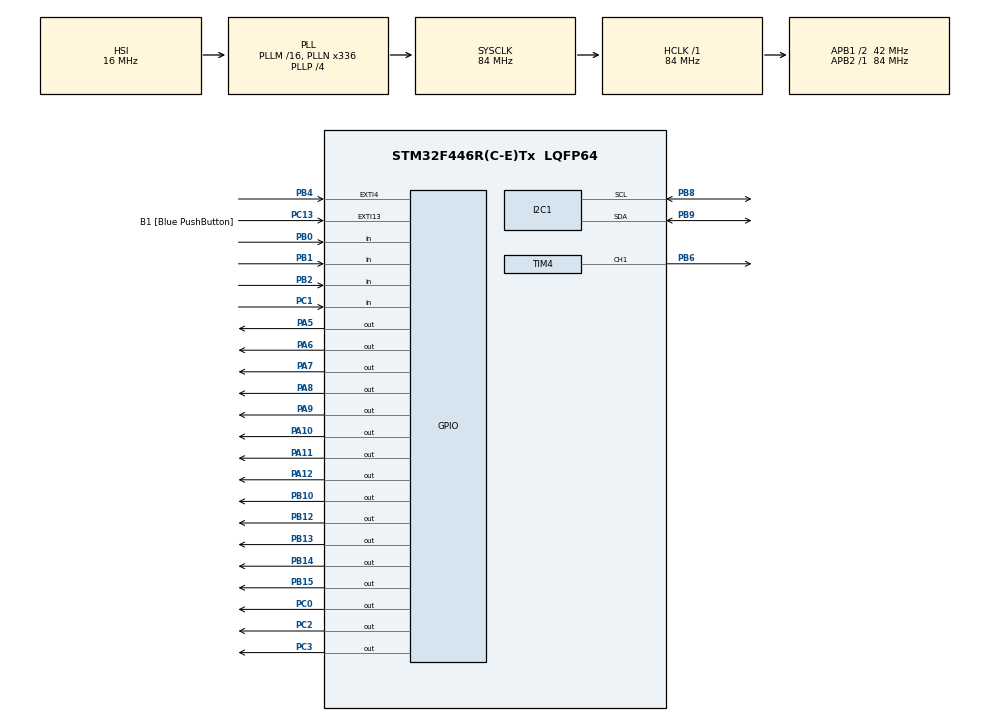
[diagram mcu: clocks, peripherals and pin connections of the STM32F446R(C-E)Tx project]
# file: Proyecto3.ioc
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Dma.Request0=TIM4_CH1
Dma.TIM4_CH1.0.Direction=DMA_MEMORY_TO_PERIPH
Dma.TIM4_CH1.0.FIFOMode=DMA_FIFOMODE_DISABLE
Dma.TIM4_CH1.0.Instance=DMA1_Stream0
Dma.TIM4_CH1.0.MemDataAlignment=DMA_MDATAALIGN_HALFWORD
Dma.TIM4_CH1.0.MemInc=DMA_MINC_ENABLE
Dma.TIM4_CH1.0.Mode=DMA_NORMAL
Dma.TIM4_CH1.0.PeriphDataAlignment=DMA_PDATAALIGN_HALFWORD
Dma.TIM4_CH1.0.PeriphInc=DMA_PINC_DISABLE
Dma.TIM4_CH1.0.Priority=DMA_PRIORITY_LOW
I2C1.OwnAddress=12
Mcu.Family=STM32F4
Mcu.Name=STM32F446R(C-E)Tx
Mcu.Package=LQFP64
NVIC.DMA1_Stream0_IRQn=true\:0\:0\:false\:false\:true\:false\:true\:true
NVIC.PriorityGroup=NVIC_PRIORITYGROUP_0
PA10.Signal=GPIO_Output
PA11.Signal=GPIO_Output
PA12.Signal=GPIO_Output
PA13.GPIO_Label=TMS
PA13.Signal=SYS_JTMS-SWDIO
PA14.GPIO_Label=TCK
PA14.Signal=SYS_JTCK-SWCLK
PA2.GPIO_Label=USART_TX
PA2.Signal=USART2_TX
PA3.GPIO_Label=USART_RX
PA3.Signal=USART2_RX
PA5.Signal=GPIO_Output
PA6.Signal=GPIO_Output
PA7.Signal=GPIO_Output
PA8.Signal=GPIO_Output
PA9.Signal=GPIO_Output
PB0.Signal=GPIO_Input
PB1.Signal=GPIO_Input
PB10.Signal=GPIO_Output
PB12.Signal=GPIO_Output
PB13.Signal=GPIO_Output
PB14.Signal=GPIO_Output
PB15.Signal=GPIO_Output
PB2.Signal=GPIO_Input
PB3.GPIO_Label=SWO
PB3.Signal=SYS_JTDO-SWO
PB4.Signal=GPXTI4
PB6.Signal=S_TIM4_CH1
PB8.Mode=I2C
PB8.Signal=I2C1_SCL
PB9.Mode=I2C
PB9.Signal=I2C1_SDA
PC0.Signal=GPIO_Output
PC1.Signal=GPIO_Input
PC13.GPIO_Label=B1 [Blue PushButton]
PC13.GPIO_ModeDefaultEXTI=GPIO_MODE_IT_FALLING
PC13.Signal=GPXTI13
PC14-OSC32_IN.Signal=RCC_OSC32_IN
PC15-OSC32_OUT.Signal=RCC_OSC32_OUT
PC2.Signal=GPIO_Output
PC3.Signal=GPIO_Output
PH0-OSC_IN.Signal=RCC_OSC_IN
PH1-OSC_OUT.Signal=RCC_OSC_OUT
ProjectManager.HeapSize=0x200
ProjectManager.StackSize=0x400
ProjectManager.TargetToolchain=STM32CubeIDE
RCC.AHBFreq_Value=84000000
RCC.APB1CLKDivider=RCC_HCLK_DIV2
RCC.APB1Freq_Value=42000000
RCC.APB1TimFreq_Value=84000000
RCC.APB2Freq_Value=84000000
RCC.APB2TimFreq_Value=84000000
RCC.CortexFreq_Value=84000000
RCC.FLatency-AdvancedSettings=FLASH_LATENCY_2
RCC.HCLKFreq_Value=84000000
RCC.HSE_VALUE=8000000
RCC.HSI_VALUE=16000000
RCC.LSE_VALUE=32768
RCC.PLLN=336
RCC.PLLP=RCC_PLLP_DIV4
RCC.SYSCLKFreq_VALUE=84000000
RCC.SYSCLKSource=RCC_SYSCLKSOURCE_PLLCLK
RCC.USBFreq_Value=168000000
RCC.VCOOutputFreq_Value=336000000
SH.S_TIM4_CH1.0=TIM4_CH1,PWM Generation1 CH1
TIM2.Prescaler=84-1
TIM4.Channel-PWM\ Generation1\ CH1=TIM_CHANNEL_1
TIM4.Period=104
VP_TIM2_VS_ClockSourceINT.Mode=Internal
board=NUCLEO-F446RE

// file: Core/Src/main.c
/* USER CODE BEGIN Header */
/**
  ******************************************************************************
  * @file           : main.c
  * @brief          : Main program body
  ******************************************************************************
  * @attention
  *
  * Copyright (c) 2026 STMicroelectronics.
  * All rights reserved.
  *
  * This software is licensed under terms that can be found in the LICENSE file
  * in the root directory of this software component.
  * If no LICENSE file comes with this software, it is provided AS-IS.
  *
  ******************************************************************************
  */
/* USER CODE END Header */
#include "main.h"

/* USER CODE BEGIN Includes */
#include "ws2812.h"
/* USER CODE END Includes */

/* USER CODE BEGIN PD */
#define numPixels 4
#define CCR_0 34
#define CCR_1 67

#define neoPixel_timer htim4
#define neoPixel_Canal TIM_CHANNEL_1
/* USER CODE END PD */

I2C_HandleTypeDef hi2c1;

TIM_HandleTypeDef htim2;
TIM_HandleTypeDef htim4;
DMA_HandleTypeDef hdma_tim4_ch1;

/* USER CODE BEGIN PV */
volatile uint32_t start = 0;
volatile uint32_t stop = 0;
volatile float distancia1 = 0;
volatile float distancia2 = 0;
volatile float distancia3 = 0;
volatile float distancia4 = 0;
uint8_t parqueo5 = 1;
uint8_t parqueo6 = 1;
uint8_t parqueo7 = 1;
uint8_t parqueo8 = 1;

uint8_t disponibles = 4;

uint8_t datos_tx[5];

/* USER CODE END PV */

void SystemClock_Config(void);
static void MX_GPIO_Init(void);
static void MX_DMA_Init(void);
static void MX_TIM2_Init(void);
static void MX_I2C1_Init(void);
static void MX_TIM4_Init(void);
/* USER CODE BEGIN PFP */

void delay_us(uint32_t us);

float HC_SR04_Read(GPIO_TypeDef *TrigPort,
                   uint16_t TrigPin,
                   GPIO_TypeDef *EchoPort,
                   uint16_t EchoPin);
void MostrarNumero(uint8_t numero);
/* USER CODE END PFP */

/* USER CODE BEGIN 0 */
void MostrarNumero(uint8_t numero)
{
    /* Apaga todos los segmentos */
    HAL_GPIO_WritePin(GPIOA, GPIO_PIN_8|GPIO_PIN_9|GPIO_PIN_10|
                             GPIO_PIN_11|GPIO_PIN_12,
                             GPIO_PIN_RESET);

    HAL_GPIO_WritePin(GPIOB, GPIO_PIN_10|GPIO_PIN_12,
                             GPIO_PIN_RESET);

    switch(numero)
    {
        case 0:
            HAL_GPIO_WritePin(GPIOA, GPIO_PIN_8|GPIO_PIN_9|
                                     GPIO_PIN_10|GPIO_PIN_11|
                                     GPIO_PIN_12, GPIO_PIN_SET);
            HAL_GPIO_WritePin(GPIOB, GPIO_PIN_10, GPIO_PIN_SET);
            break;

        case 1:
            HAL_GPIO_WritePin(GPIOA,
                              GPIO_PIN_9|GPIO_PIN_10,
                              GPIO_PIN_SET);
            break;

        case 2:
            HAL_GPIO_WritePin(GPIOA,
                              GPIO_PIN_8|GPIO_PIN_9|
                              GPIO_PIN_11|GPIO_PIN_12,
                              GPIO_PIN_SET);
            HAL_GPIO_WritePin(GPIOB,
                              GPIO_PIN_12,
                              GPIO_PIN_SET);
            break;

        case 3:
            HAL_GPIO_WritePin(GPIOA,
                              GPIO_PIN_8|GPIO_PIN_9|
                              GPIO_PIN_10|GPIO_PIN_11,
                              GPIO_PIN_SET);
            HAL_GPIO_WritePin(GPIOB,
                              GPIO_PIN_12,
                              GPIO_PIN_SET);
            break;

        case 4:
            HAL_GPIO_WritePin(GPIOA,
                              GPIO_PIN_9|GPIO_PIN_10,
                              GPIO_PIN_SET);

            HAL_GPIO_WritePin(GPIOB,
                              GPIO_PIN_10|GPIO_PIN_12,
                              GPIO_PIN_SET);
            break;
    }
}
void delay_us(uint32_t us)
{
    __HAL_TIM_SET_COUNTER(&htim2, 0);

    while(__HAL_TIM_GET_COUNTER(&htim2) < us);
}

float HC_SR04_Read(GPIO_TypeDef *TrigPort,
                   uint16_t TrigPin,
                   GPIO_TypeDef *EchoPort,
                   uint16_t EchoPin)
{
	start = 0;
	stop = 0;

    HAL_GPIO_WritePin(TrigPort, TrigPin, GPIO_PIN_RESET);
    delay_us(2);

    HAL_GPIO_WritePin(TrigPort, TrigPin, GPIO_PIN_SET);
    delay_us(10);

    HAL_GPIO_WritePin(TrigPort, TrigPin, GPIO_PIN_RESET);

    __HAL_TIM_SET_COUNTER(&htim2, 0);

    while(HAL_GPIO_ReadPin(EchoPort, EchoPin) == GPIO_PIN_RESET)
    {
        if(__HAL_TIM_GET_COUNTER(&htim2) > 30000)
            return -1;
    }

    start = __HAL_TIM_GET_COUNTER(&htim2);

    while(HAL_GPIO_ReadPin(EchoPort, EchoPin) == GPIO_PIN_SET);

    stop = __HAL_TIM_GET_COUNTER(&htim2);

    return ((float)(stop - start) * 0.0343f) / 2.0f;
}

/* USER CODE END 0 */

int main(void)
{

  /* MCU Configuration--------------------------------------------------------*/

  /* Reset of all peripherals, Initializes the Flash interface and the Systick. */
  HAL_Init();

  /* Configure the system clock */
  SystemClock_Config();

  /* Initialize all configured peripherals */
  MX_GPIO_Init();
  MX_DMA_Init();
  MX_TIM2_Init();
  MX_I2C1_Init();
  MX_TIM4_Init();
  /* USER CODE BEGIN 2 */
  HAL_TIM_Base_Start(&htim2);
  HAL_TIM_PWM_Start(&htim4, TIM_CHANNEL_1);
  /* USER CODE END 2 */

  /* Infinite loop */
  /* USER CODE BEGIN WHILE */
  while (1)
  {
	  distancia1++;
	  distancia2++;
	  distancia3++;
	  distancia4++;

	  HAL_Delay(500);
	  distancia1 = HC_SR04_Read(GPIOA, GPIO_PIN_5,
	                            GPIOB, GPIO_PIN_0);

	  distancia2 = HC_SR04_Read(GPIOA, GPIO_PIN_6,
	                            GPIOB, GPIO_PIN_1);

	  distancia3 = HC_SR04_Read(GPIOA, GPIO_PIN_7,
	                            GPIOB, GPIO_PIN_2);

	  distancia4 = HC_SR04_Read(GPIOC, GPIO_PIN_0,
	                            GPIOC, GPIO_PIN_1);
	  /* Estado de parqueos */

	  parqueo5 = (distancia1 > 0 && distancia1 < 15) ? 0 : 1;
	  parqueo6 = (distancia2 > 0 && distancia2 < 15) ? 0 : 1;
	  parqueo7 = (distancia3 > 0 && distancia3 < 15) ? 0 : 1;
	  parqueo8 = (distancia4 > 0 && distancia4 < 15) ? 0 : 1;
	  disponibles =
	          parqueo5 +
	          parqueo6 +
	          parqueo7 +
	          parqueo8;
	  Set_LED(0, parqueo5 ? 0 : 255,
	             parqueo5 ? 255 : 0,
	             0);

	  Set_LED(1, parqueo6 ? 0 : 255,
	             parqueo6 ? 255 : 0,
	             0);

	  Set_LED(2, parqueo7 ? 0 : 255,
	             parqueo7 ? 255 : 0,
	             0);

	  Set_LED(3, parqueo8 ? 0 : 255,
	             parqueo8 ? 255 : 0,
	             0);

	  WS2812_Send();
	  datos_tx[0] = parqueo5;
	  datos_tx[1] = parqueo6;
	  datos_tx[2] = parqueo7;
	  datos_tx[3] = parqueo8;
	  datos_tx[4] = disponibles;

	  HAL_I2C_Slave_Transmit(
	      &hi2c1,
	      datos_tx,
	      5,
	      100);

	  MostrarNumero(disponibles);
	  HAL_Delay(100);
    /* USER CODE END WHILE */

  }
}

void SystemClock_Config(void)
{
  RCC_OscInitTypeDef RCC_OscInitStruct = {0};
  RCC_ClkInitTypeDef RCC_ClkInitStruct = {0};

  /** Configure the main internal regulator output voltage
  */
  __HAL_RCC_PWR_CLK_ENABLE();
  __HAL_PWR_VOLTAGESCALING_CONFIG(PWR_REGULATOR_VOLTAGE_SCALE3);

  /** Initializes the RCC Oscillators according to the specified parameters
  * in the RCC_OscInitTypeDef structure.
  */
  RCC_OscInitStruct.OscillatorType = RCC_OSCILLATORTYPE_HSI;
  RCC_OscInitStruct.HSIState = RCC_HSI_ON;
  RCC_OscInitStruct.HSICalibrationValue = RCC_HSICALIBRATION_DEFAULT;
  RCC_OscInitStruct.PLL.PLLState = RCC_PLL_ON;
  RCC_OscInitStruct.PLL.PLLSource = RCC_PLLSOURCE_HSI;
  RCC_OscInitStruct.PLL.PLLM = 16;
  RCC_OscInitStruct.PLL.PLLN = 336;
  RCC_OscInitStruct.PLL.PLLP = RCC_PLLP_DIV4;
  RCC_OscInitStruct.PLL.PLLQ = 2;
  RCC_OscInitStruct.PLL.PLLR = 2;
  if (HAL_RCC_OscConfig(&RCC_OscInitStruct) != HAL_OK)
  {
    Error_Handler();
  }

  /** Initializes the CPU, AHB and APB buses clocks
  */
  RCC_ClkInitStruct.ClockType = RCC_CLOCKTYPE_HCLK|RCC_CLOCKTYPE_SYSCLK
                              |RCC_CLOCKTYPE_PCLK1|RCC_CLOCKTYPE_PCLK2;
  RCC_ClkInitStruct.SYSCLKSource = RCC_SYSCLKSOURCE_PLLCLK;
  RCC_ClkInitStruct.AHBCLKDivider = RCC_SYSCLK_DIV1;
  RCC_ClkInitStruct.APB1CLKDivider = RCC_HCLK_DIV2;
  RCC_ClkInitStruct.APB2CLKDivider = RCC_HCLK_DIV1;

  if (HAL_RCC_ClockConfig(&RCC_ClkInitStruct, FLASH_LATENCY_2) != HAL_OK)
  {
    Error_Handler();
  }
}

static void MX_I2C1_Init(void)
{

  hi2c1.Instance = I2C1;
  hi2c1.Init.ClockSpeed = 100000;
  hi2c1.Init.DutyCycle = I2C_DUTYCYCLE_2;
  hi2c1.Init.OwnAddress1 = 24;
  hi2c1.Init.AddressingMode = I2C_ADDRESSINGMODE_7BIT;
  hi2c1.Init.DualAddressMode = I2C_DUALADDRESS_DISABLE;
  hi2c1.Init.OwnAddress2 = 0;
  hi2c1.Init.GeneralCallMode = I2C_GENERALCALL_DISABLE;
  hi2c1.Init.NoStretchMode = I2C_NOSTRETCH_DISABLE;
  if (HAL_I2C_Init(&hi2c1) != HAL_OK)
  {
    Error_Handler();
  }

}

static void MX_TIM2_Init(void)
{

  TIM_ClockConfigTypeDef sClockSourceConfig = {0};
  TIM_MasterConfigTypeDef sMasterConfig = {0};

  htim2.Instance = TIM2;
  htim2.Init.Prescaler = 84-1;
  htim2.Init.CounterMode = TIM_COUNTERMODE_UP;
  htim2.Init.Period = 4294967295;
  htim2.Init.ClockDivision = TIM_CLOCKDIVISION_DIV1;
  htim2.Init.AutoReloadPreload = TIM_AUTORELOAD_PRELOAD_DISABLE;
  if (HAL_TIM_Base_Init(&htim2) != HAL_OK)
  {
    Error_Handler();
  }
  sClockSourceConfig.ClockSource = TIM_CLOCKSOURCE_INTERNAL;
  if (HAL_TIM_ConfigClockSource(&htim2, &sClockSourceConfig) != HAL_OK)
  {
    Error_Handler();
  }
  sMasterConfig.MasterOutputTrigger = TIM_TRGO_RESET;
  sMasterConfig.MasterSlaveMode = TIM_MASTERSLAVEMODE_DISABLE;
  if (HAL_TIMEx_MasterConfigSynchronization(&htim2, &sMasterConfig) != HAL_OK)
  {
    Error_Handler();
  }

}

static void MX_TIM4_Init(void)
{

  TIM_MasterConfigTypeDef sMasterConfig = {0};
  TIM_OC_InitTypeDef sConfigOC = {0};

  htim4.Instance = TIM4;
  htim4.Init.Prescaler = 0;
  htim4.Init.CounterMode = TIM_COUNTERMODE_UP;
  htim4.Init.Period = 104;
  htim4.Init.ClockDivision = TIM_CLOCKDIVISION_DIV1;
  htim4.Init.AutoReloadPreload = TIM_AUTORELOAD_PRELOAD_DISABLE;
  if (HAL_TIM_PWM_Init(&htim4) != HAL_OK)
  {
    Error_Handler();
  }
  sMasterConfig.MasterOutputTrigger = TIM_TRGO_RESET;
  sMasterConfig.MasterSlaveMode = TIM_MASTERSLAVEMODE_DISABLE;
  if (HAL_TIMEx_MasterConfigSynchronization(&htim4, &sMasterConfig) != HAL_OK)
  {
    Error_Handler();
  }
  sConfigOC.OCMode = TIM_OCMODE_PWM1;
  sConfigOC.Pulse = 0;
  sConfigOC.OCPolarity = TIM_OCPOLARITY_HIGH;
  sConfigOC.OCFastMode = TIM_OCFAST_DISABLE;
  if (HAL_TIM_PWM_ConfigChannel(&htim4, &sConfigOC, TIM_CHANNEL_1) != HAL_OK)
  {
    Error_Handler();
  }
  HAL_TIM_MspPostInit(&htim4);

}

static void MX_DMA_Init(void)
{

  /* DMA controller clock enable */
  __HAL_RCC_DMA1_CLK_ENABLE();

  /* DMA interrupt init */
  /* DMA1_Stream0_IRQn interrupt configuration */
  HAL_NVIC_SetPriority(DMA1_Stream0_IRQn, 0, 0);
  HAL_NVIC_EnableIRQ(DMA1_Stream0_IRQn);

}

static void MX_GPIO_Init(void)
{
  GPIO_InitTypeDef GPIO_InitStruct = {0};

  /* GPIO Ports Clock Enable */
  __HAL_RCC_GPIOC_CLK_ENABLE();
  __HAL_RCC_GPIOH_CLK_ENABLE();
  __HAL_RCC_GPIOA_CLK_ENABLE();
  __HAL_RCC_GPIOB_CLK_ENABLE();

  /*Configure GPIO pin Output Level */
  HAL_GPIO_WritePin(GPIOC, GPIO_PIN_0|GPIO_PIN_2|GPIO_PIN_3, GPIO_PIN_RESET);

  /*Configure GPIO pin Output Level */
  HAL_GPIO_WritePin(GPIOA, GPIO_PIN_5|GPIO_PIN_6|GPIO_PIN_7|GPIO_PIN_8
                          |GPIO_PIN_9|GPIO_PIN_10|GPIO_PIN_11|GPIO_PIN_12, GPIO_PIN_RESET);

  /*Configure GPIO pin Output Level */
  HAL_GPIO_WritePin(GPIOB, GPIO_PIN_10|GPIO_PIN_12|GPIO_PIN_13|GPIO_PIN_14
                          |GPIO_PIN_15, GPIO_PIN_RESET);

  /*Configure GPIO pin : B1_Pin */
  GPIO_InitStruct.Pin = B1_Pin;
  GPIO_InitStruct.Mode = GPIO_MODE_IT_FALLING;
  GPIO_InitStruct.Pull = GPIO_NOPULL;
  HAL_GPIO_Init(B1_GPIO_Port, &GPIO_InitStruct);

  /*Configure GPIO pins : PC0 PC2 PC3 */
  GPIO_InitStruct.Pin = GPIO_PIN_0|GPIO_PIN_2|GPIO_PIN_3;
  GPIO_InitStruct.Mode = GPIO_MODE_OUTPUT_PP;
  GPIO_InitStruct.Pull = GPIO_NOPULL;
  GPIO_InitStruct.Speed = GPIO_SPEED_FREQ_LOW;
  HAL_GPIO_Init(GPIOC, &GPIO_InitStruct);

  /*Configure GPIO pin : PC1 */
  GPIO_InitStruct.Pin = GPIO_PIN_1;
  GPIO_InitStruct.Mode = GPIO_MODE_INPUT;
  GPIO_InitStruct.Pull = GPIO_NOPULL;
  HAL_GPIO_Init(GPIOC, &GPIO_InitStruct);

  /*Configure GPIO pins : USART_TX_Pin USART_RX_Pin */
  GPIO_InitStruct.Pin = USART_TX_Pin|USART_RX_Pin;
  GPIO_InitStruct.Mode = GPIO_MODE_AF_PP;
  GPIO_InitStruct.Pull = GPIO_NOPULL;
  GPIO_InitStruct.Speed = GPIO_SPEED_FREQ_VERY_HIGH;
  GPIO_InitStruct.Alternate = GPIO_AF7_USART2;
  HAL_GPIO_Init(GPIOA, &GPIO_InitStruct);

  /*Configure GPIO pins : PA5 PA6 PA7 PA8
                           PA9 PA10 PA11 PA12 */
  GPIO_InitStruct.Pin = GPIO_PIN_5|GPIO_PIN_6|GPIO_PIN_7|GPIO_PIN_8
                          |GPIO_PIN_9|GPIO_PIN_10|GPIO_PIN_11|GPIO_PIN_12;
  GPIO_InitStruct.Mode = GPIO_MODE_OUTPUT_PP;
  GPIO_InitStruct.Pull = GPIO_NOPULL;
  GPIO_InitStruct.Speed = GPIO_SPEED_FREQ_LOW;
  HAL_GPIO_Init(GPIOA, &GPIO_InitStruct);

  /*Configure GPIO pins : PB0 PB1 PB2 */
  GPIO_InitStruct.Pin = GPIO_PIN_0|GPIO_PIN_1|GPIO_PIN_2;
  GPIO_InitStruct.Mode = GPIO_MODE_INPUT;
  GPIO_InitStruct.Pull = GPIO_NOPULL;
  HAL_GPIO_Init(GPIOB, &GPIO_InitStruct);

  /*Configure GPIO pins : PB10 PB12 PB13 PB14
                           PB15 */
  GPIO_InitStruct.Pin = GPIO_PIN_10|GPIO_PIN_12|GPIO_PIN_13|GPIO_PIN_14
                          |GPIO_PIN_15;
  GPIO_InitStruct.Mode = GPIO_MODE_OUTPUT_PP;
  GPIO_InitStruct.Pull = GPIO_NOPULL;
  GPIO_InitStruct.Speed = GPIO_SPEED_FREQ_LOW;
  HAL_GPIO_Init(GPIOB, &GPIO_InitStruct);

  /*Configure GPIO pin : PB4 */
  GPIO_InitStruct.Pin = GPIO_PIN_4;
  GPIO_InitStruct.Mode = GPIO_MODE_IT_RISING;
  GPIO_InitStruct.Pull = GPIO_NOPULL;
  HAL_GPIO_Init(GPIOB, &GPIO_InitStruct);

}

void Error_Handler(void)
{
  __disable_irq();
  while (1)
  {
  }
}
